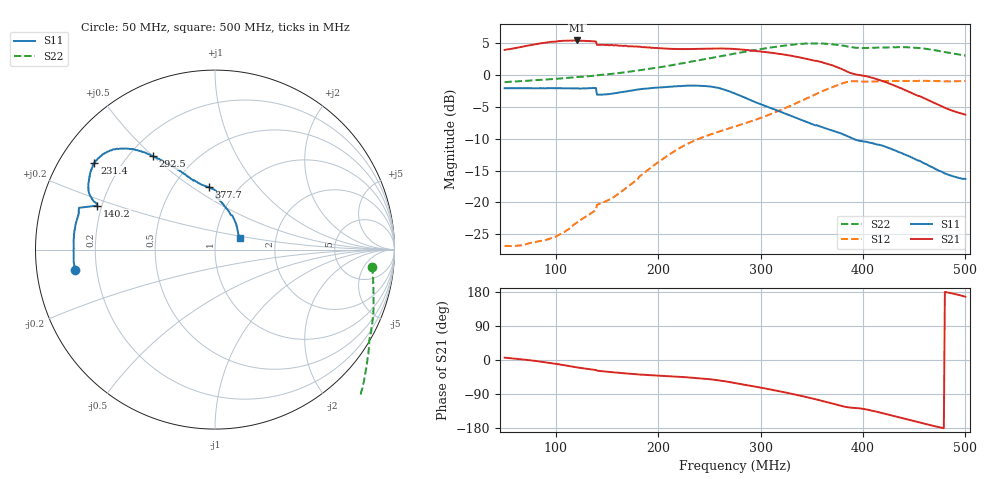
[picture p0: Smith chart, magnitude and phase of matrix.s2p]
# MHz S MA R 50
!  freq  S11  S21  S12  S22
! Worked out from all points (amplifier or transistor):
!   450 points, 50 MHz to 500 MHz, reference 50 ohm
!   highest |S21| = 5.5 dB at 121.2 MHz (marker M1)
!   |S21| within 3 dB of that: start of sweep to 347.8 MHz
!   unconditionally stable (mu >= 1): start of sweep to 57.11 MHz
!   at 125.2 MHz: K = -0.12, MSG = 14.0 dB, |S12| = -22.7 dB
!   at 275.5 MHz: K = -1.07, MSG = 6.1 dB, |S12| = -8.0 dB
!   at 500 MHz: K = -1.12, MSG = -2.7 dB, |S12| = -0.9 dB
!   S11 on the Smith chart (normalised r, x): 50 MHz: 0.12, -0.07; 140.2 MHz: 0.18, +0.17; 231.4 MHz: 0.10, +0.32; 292.5 MHz: 0.29, +0.50; 377.7 MHz: 0.73, +0.58; 500 MHz: 1.30, +0.18
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50  0.7895 -171.6  1.58 6.2  0.04542 41.8  0.8798 -6.3
76.05791  0.7871 178.7  1.724 -1.1  0.04796 59.5  0.9089 -13.7
93.09577  0.7895 173.9  1.815 -7.2  0.0513 72.2  0.9272 -17.7
121.1581  0.7866 166.1  1.875 -19.8  0.06974 89.0  0.9662 -24.8
125.167  0.7863 165.1  1.865 -21.4  0.07365 91.0  0.9723 -25.8
137.1938  0.7926 163.2  1.846 -25.7  0.08484 97.3  0.9906 -28.9
140.2004  0.7023 159.6  1.732 -28.0  0.09543 93.7  0.9965 -30.4
142.2049  0.702 159.3  1.734 -28.6  0.09689 94.8  0.9999 -30.7
168.2628  0.7434 157.5  1.704 -35.4  0.1288 106.9  1.056 -36.6
200.3341  0.7987 151.8  1.63 -41.4  0.2078 106.5  1.15 -45.5
231.4031  0.828 144.2  1.604 -46.3  0.2954 98.5  1.275 -54.9
254.4543  0.805 137.0  1.618 -52.0  0.3492 92.7  1.378 -63.3
275.5011  0.7128 128.7  1.603 -61.1  0.396 89.1  1.482 -71.2
292.539  0.6246 123.5  1.559 -69.2  0.4397 87.2  1.568 -78.1
325.6125  0.4927 115.0  1.44 -86.5  0.5578 82.6  1.715 -93.6
350.6682  0.4105 108.1  1.312 -101.6  0.6888 73.9  1.774 -108.7
377.7283  0.3501 95.9  1.131 -120.4  0.851 55.6  1.717 -126.8
391.7595  0.3125 87.4  1.017 -126.5  0.8957 44.9  1.646 -133.5
425.8352  0.2661 82.3  0.8578 -144.8  0.8991 28.2  1.656 -148.1
457.9065  0.2066 60.7  0.6681 -166.9  0.9034 17.7  1.629 -164.6
477.951  0.172 43.7  0.5641 -179.4  0.8968 14.0  1.529 -173.1
500  0.1526 26.1  0.4889 166.8  0.9011 11.6  1.425 179.3
